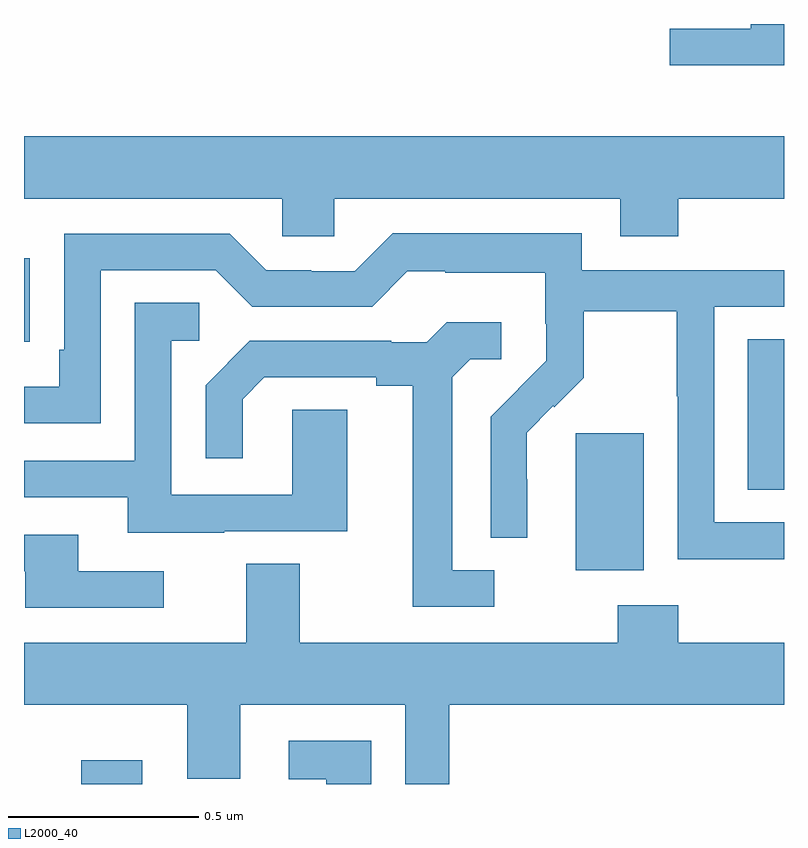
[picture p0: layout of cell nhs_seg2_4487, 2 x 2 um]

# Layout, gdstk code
import gdstk
lib = gdstk.Library(unit=1e-6, precision=1e-09)
def R(c, l, rs):  # rectangles x0, y0, x1, y1
    for r in rs: c.add(gdstk.rectangle(r[:2], r[2:], *l))
def P(c, l, *ps):  # polygons
    for p in ps: c.add(gdstk.Polygon(p, *l))
L2000_40 = (2000, 40)

nhs_seg2_4487 = lib.new_cell('nhs_seg2_4487')
R(nhs_seg2_4487, L2000_40, [(167.15,608.8,167.311,608.863), (168.452,609.362,168.631,609.723), (168.905,609.574,169,609.971), (167,609.964,167.015,610.183)])
P(nhs_seg2_4487, L2000_40, [(169,610.8),(168.912,610.8),(168.912,610.788),(168.699,610.788),(168.699,610.692),(169,610.692)],
  [(168.722,610.34),(169,610.34),(169,610.504),(167,610.504),(167,610.34),(167.679,610.34),(167.679,610.242),(167.817,610.242),(167.817,610.34),(168.569,610.34),(168.569,610.241),(168.722,610.241)],
  [(169,609.489),(168.816,609.489),(168.816,610.056),(169,610.056),(169,610.152),(168.468,610.152),(168.468,610.249),(167.971,610.249),(167.871,610.149),(167.756,610.149),(167.756,610.152),(167.637,610.152),(167.541,610.248),(167.106,610.248),(167.106,609.943),(167.093,609.943),(167.093,609.846),(167,609.846),(167,609.75),(167.202,609.75),(167.202,610.152),(167.505,610.152),(167.601,610.056),(167.916,610.056),(168.009,610.149),(168.109,610.149),(168.109,610.145),(168.372,610.145),(168.372,610.011),(168.374,610.011),(168.374,609.914),(168.3,609.84),(168.301,609.839),(168.228,609.766),(168.228,609.448),(168.324,609.448),(168.324,609.602),(168.323,609.602),(168.323,609.725),(168.393,609.795),(168.396,609.792),(168.473,609.869),(168.473,610.044),(168.718,610.044),(168.718,609.82),(168.72,609.82),(168.72,609.391),(169,609.391)],
  [(167.527,609.465),(167.851,609.465),(167.851,609.785),(167.706,609.785),(167.706,609.561),(167.388,609.561),(167.388,609.966),(167.461,609.966),(167.461,610.067),(167.292,610.067),(167.292,609.651),(167,609.651),(167,609.555),(167.273,609.555),(167.273,609.461),(167.527,609.461)],
  [(168.238,609.363),(168.127,609.363),(168.127,609.871),(168.174,609.918),(168.256,609.918),(168.256,610.015),(168.112,610.015),(168.06,609.963),(167.966,609.963),(167.966,609.966),(167.594,609.966),(167.478,609.85),(167.478,609.657),(167.575,609.657),(167.575,609.813),(167.632,609.87),(167.927,609.87),(167.927,609.848),(168.023,609.848),(168.023,609.267),(168.238,609.267)],
  [(167.368,609.36),(167.143,609.36),(167.143,609.456),(167,609.456),(167,609.36),(167.003,609.36),(167.003,609.264),(167.368,609.264)],
  [(169,609.172),(168.722,609.172),(168.722,609.271),(168.562,609.271),(168.562,609.172),(167.725,609.172),(167.725,609.38),(167.585,609.38),(167.585,609.172),(167,609.172),(167,609.008),(167.429,609.008),(167.429,608.814),(167.569,608.814),(167.569,609.008),(168.003,609.008),(168.003,608.8),(168.119,608.8),(168.119,609.008),(169,609.008)],
  [(167.914,608.914),(167.697,608.914),(167.697,608.813),(167.795,608.813),(167.795,608.8),(167.914,608.8)])

lib.write_gds('nhs_seg2_4487.gds')
